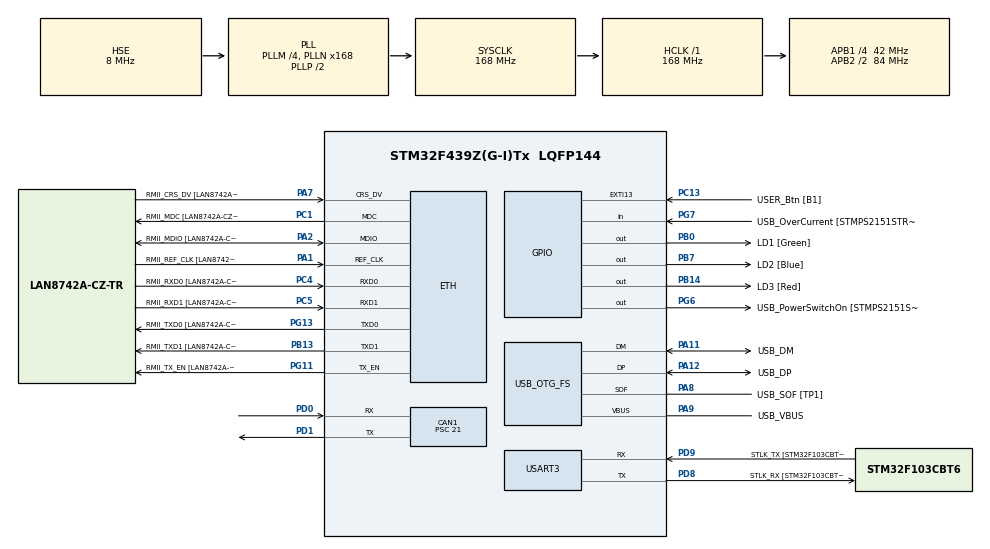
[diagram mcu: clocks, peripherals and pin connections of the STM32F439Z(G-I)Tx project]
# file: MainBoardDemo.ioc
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CAN1.BS1=CAN_BS1_2TQ
CAN1.CalculateBaudRate=500000
CAN1.CalculateTimeBit=2000
CAN1.CalculateTimeQuantum=500.0
CAN1.Mode=CAN_MODE_NORMAL
CAN1.Prescaler=21
ETH.MediaInterface=HAL_ETH_RMII_MODE
Mcu.Family=STM32F4
Mcu.Name=STM32F439Z(G-I)Tx
Mcu.Package=LQFP144
NVIC.CAN1_RX0_IRQn=true\:0\:0\:false\:false\:true\:true\:true\:true
NVIC.CAN1_RX1_IRQn=true\:0\:0\:false\:false\:true\:true\:true\:true
NVIC.EXTI15_10_IRQn=true\:0\:0\:false\:false\:true\:true\:true\:true
NVIC.PriorityGroup=NVIC_PRIORITYGROUP_4
PA1.GPIO_Label=RMII_REF_CLK [LAN8742A-CZ-TR_REFCLK0]
PA1.Mode=RMII
PA1.Signal=ETH_REF_CLK
PA10.GPIO_Label=USB_ID
PA10.Signal=USB_OTG_FS_ID
PA11.GPIO_Label=USB_DM
PA11.Mode=Device_Only
PA11.Signal=USB_OTG_FS_DM
PA12.GPIO_Label=USB_DP
PA12.Mode=Device_Only
PA12.Signal=USB_OTG_FS_DP
PA13.GPIO_Label=TMS
PA13.Mode=Serial_Wire
PA13.Signal=SYS_JTMS-SWDIO
PA14.GPIO_Label=TCK
PA14.Mode=Serial_Wire
PA14.Signal=SYS_JTCK-SWCLK
PA2.GPIO_Label=RMII_MDIO [LAN8742A-CZ-TR_MDIO]
PA2.Mode=RMII
PA2.Signal=ETH_MDIO
PA7.GPIO_Label=RMII_CRS_DV [LAN8742A-CZ-TR_CRS_DV]
PA7.Mode=RMII
PA7.Signal=ETH_CRS_DV
PA8.GPIO_Label=USB_SOF [TP1]
PA8.Mode=Activate_SOF_FS
PA8.Signal=USB_OTG_FS_SOF
PA9.GPIO_Label=USB_VBUS
PA9.Mode=Activate_VBUS
PA9.Signal=USB_OTG_FS_VBUS
PB0.GPIO_Label=LD1 [Green]
PB0.Signal=GPIO_Output
PB13.GPIO_Label=RMII_TXD1 [LAN8742A-CZ-TR_TXD1]
PB13.Mode=RMII
PB13.Signal=ETH_TXD1
PB14.GPIO_Label=LD3 [Red]
PB14.Signal=GPIO_Output
PB7.GPIO_Label=LD2 [Blue]
PB7.Signal=GPIO_Output
PC1.GPIO_Label=RMII_MDC [LAN8742A-CZ-TR_MDC]
PC1.Mode=RMII
PC1.Signal=ETH_MDC
PC13.GPIO_Label=USER_Btn [B1]
PC13.Signal=GPXTI13
PC14/OSC32_IN.Mode=LSE-External-Oscillator
PC14/OSC32_IN.Signal=RCC_OSC32_IN
PC15/OSC32_OUT.Mode=LSE-External-Oscillator
PC15/OSC32_OUT.Signal=RCC_OSC32_OUT
PC4.GPIO_Label=RMII_RXD0 [LAN8742A-CZ-TR_RXD0]
PC4.Mode=RMII
PC4.Signal=ETH_RXD0
PC5.GPIO_Label=RMII_RXD1 [LAN8742A-CZ-TR_RXD1]
PC5.Mode=RMII
PC5.Signal=ETH_RXD1
PD0.GPIO_PuPd=GPIO_NOPULL
PD0.Mode=CAN_Activate
PD0.Signal=CAN1_RX
PD1.Mode=CAN_Activate
PD1.Signal=CAN1_TX
PD6.Signal=USART2_RX
PD8.GPIO_Label=STLK_RX [STM32F103CBT6_PA3]
PD8.Mode=Asynchronous
PD8.Signal=USART3_TX
PD9.GPIO_Label=STLK_TX [STM32F103CBT6_PA2]
PD9.Mode=Asynchronous
PD9.Signal=USART3_RX
PG11.GPIO_Label=RMII_TX_EN [LAN8742A-CZ-TR_TXEN]
PG11.Mode=RMII
PG11.Signal=ETH_TX_EN
PG13.GPIO_Label=RMII_TXD0 [LAN8742A-CZ-TR_TXD0]
PG13.Mode=RMII
PG13.Signal=ETH_TXD0
PG6.GPIO_Label=USB_PowerSwitchOn [STMPS2151STR_EN]
PG6.Signal=GPIO_Output
PG7.GPIO_Label=USB_OverCurrent [STMPS2151STR_FAULT]
PG7.Signal=GPIO_Input
PH0/OSC_IN.GPIO_Label=MCO [STM32F103CBT6_PA8]
PH0/OSC_IN.Mode=HSE-External-Clock-Source
PH0/OSC_IN.Signal=RCC_OSC_IN
PH1/OSC_OUT.Mode=HSE-External-Clock-Source
PH1/OSC_OUT.Signal=RCC_OSC_OUT
ProjectManager.HeapSize=0x200
ProjectManager.StackSize=0x400
ProjectManager.TargetToolchain=STM32CubeIDE
RCC.48MHZClocksFreq_Value=48000000
RCC.AHBFreq_Value=168000000
RCC.APB1CLKDivider=RCC_HCLK_DIV4
RCC.APB1Freq_Value=42000000
RCC.APB1TimFreq_Value=84000000
RCC.APB2CLKDivider=RCC_HCLK_DIV2
RCC.APB2Freq_Value=84000000
RCC.APB2TimCLKDivider=2
RCC.APB2TimFreq_Value=168000000
RCC.CortexFreq_Value=168000000
RCC.HCLKFreq_Value=168000000
RCC.HSE_VALUE=8000000
RCC.HSI_VALUE=16000000
RCC.PLLM=4
RCC.PLLMUL=RCC_PLL_MUL9
RCC.PLLN=168
RCC.PLLQ=7
RCC.PRESCALERUSB=RCC_USBCLKSOURCE_PLL_DIV1_5
RCC.SYSCLKFreq_VALUE=168000000
RCC.SYSCLKSource=RCC_SYSCLKSOURCE_PLLCLK
RCC.SYSCLKSourceVirtual=RCC_SYSCLKSOURCE_PLLCLK
RCC.USBFreq_Value=48000000
RCC.VCOOutputFreq_Value=336000000
USART3.VirtualMode=VM_ASYNC
USB_OTG_FS.VirtualMode=Device_Only
board=NUCLEO-F439ZI

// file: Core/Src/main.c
/* USER CODE BEGIN Header */
/**
  ******************************************************************************
  * @file           : main.c
  * @brief          : Main program body
  ******************************************************************************
  * @attention
  *
  * Copyright (c) 2025 STMicroelectronics.
  * All rights reserved.
  *
  * This software is licensed under terms that can be found in the LICENSE file
  * in the root directory of this software component.
  * If no LICENSE file comes with this software, it is provided AS-IS.
  *
  ******************************************************************************
  */
/* USER CODE END Header */
#include "main.h"
#include "string.h"

/* USER CODE BEGIN PM */

//used to encode and decode sensor data from one 16bit --> two 8-bit
static inline void split_uint16(uint16_t v, uint8_t *hi, uint8_t *lo) {
    *hi = (uint8_t)(v >> 8);
    *lo = (uint8_t)(v & 0xFF);
}

static inline uint16_t combine_uint8(uint8_t hi, uint8_t lo) {
    return ((uint16_t)hi << 8) | (uint16_t)lo;
}
/* USER CODE END PM */

ETH_TxPacketConfig TxConfig;
ETH_DMADescTypeDef  DMARxDscrTab[ETH_RX_DESC_CNT]; /* Ethernet Rx DMA Descriptors */
ETH_DMADescTypeDef  DMATxDscrTab[ETH_TX_DESC_CNT]; /* Ethernet Tx DMA Descriptors */

CAN_HandleTypeDef hcan1;

ETH_HandleTypeDef heth;

UART_HandleTypeDef huart3;

PCD_HandleTypeDef hpcd_USB_OTG_FS;

/* USER CODE BEGIN PV */

//identifier ID for each board (every board should have the exact same values)
//must be between 0-255
static uint32_t MAIN = 100;
static uint32_t TEST = 101;
static uint32_t UI = 102;
/* USER CODE END PV */

void SystemClock_Config(void);
static void MX_GPIO_Init(void);
static void MX_CAN1_Init(void);
static void MX_ETH_Init(void);
static void MX_USART3_UART_Init(void);
static void MX_USB_OTG_FS_PCD_Init(void);

/* USER CODE BEGIN 0 */

CAN_TxHeaderTypeDef TxHeader;
CAN_RxHeaderTypeDef RxHeader;

uint8_t TxData[8];
uint8_t RxData[8];

//data is formatted as followed (three 16-bit values)
/*
 *  [0] data 1 MSB
 *  [1] data 1 LSB
 *  [2] data 2 MSB
 *  [3] data 2 LSB
 *  [4] data 3 MSB
 *  [5] data 3 LSB
 *  [6]
 *  [7] Identifier (such as 0x100 for MAIN)
 *
 *  not every packet will have all data filled, but identifier should always be allocated
 *  16 bit data has big-endian formatting
 */

uint32_t TxMailbox[3];

uint16_t sensorVal = 10306;
uint16_t recovered = 0;

void HAL_CAN_RxFifo0MsgPendingCallback(CAN_HandleTypeDef *hcan)
{
	HAL_CAN_GetRxMessage(hcan, CAN_RX_FIFO0, &RxHeader, RxData);

	uint8_t TxID = RxData[7];

	if (TxID == TEST)
	{
		HAL_GPIO_TogglePin(GPIOB, LD1_Pin);
		recovered = combine_uint8(RxData[0], RxData[1]);
	}
	else if (TxID == UI)
	{
		HAL_GPIO_WritePin(GPIOB, LD2_Pin, RxData[0]);
		HAL_GPIO_WritePin(GPIOB, LD3_Pin, RxData[2]);
	}
}

void HAL_GPIO_EXTI_Callback(uint16_t GPIO_Pin)
{
	int but = HAL_GPIO_ReadPin(USER_Btn_GPIO_Port,USER_Btn_Pin);
	if (but == 1)
	{
	    TxData[7] = MAIN; //set identifier byte
	    split_uint16(sensorVal, &TxData[0], &TxData[1]);

		TxHeader.StdId = TEST;  // ID for Test board
		HAL_CAN_AddTxMessage(&hcan1, &TxHeader, TxData, &TxMailbox[0]);

		TxHeader.StdId = UI;  // ID for UI board
		HAL_CAN_AddTxMessage(&hcan1, &TxHeader, TxData, &TxMailbox[1]);
		but = 0;
	}
}

/* USER CODE END 0 */

int main(void)
{

  /* MCU Configuration--------------------------------------------------------*/

  /* Reset of all peripherals, Initializes the Flash interface and the Systick. */
  HAL_Init();

  /* Configure the system clock */
  SystemClock_Config();

  /* Initialize all configured peripherals */
  MX_GPIO_Init();
  MX_CAN1_Init();
  MX_ETH_Init();
  MX_USART3_UART_Init();
  MX_USB_OTG_FS_PCD_Init();
  /* USER CODE BEGIN 2 */
  HAL_GPIO_WritePin(GPIOB, LD3_Pin, GPIO_PIN_RESET);

  HAL_CAN_Start(&hcan1);

      // Activate the notification
  HAL_CAN_ActivateNotification(&hcan1, CAN_IT_RX_FIFO0_MSG_PENDING);

  //set header values (all these are the same except for ID)
  TxHeader.DLC = 8;  // data length
  TxHeader.ExtId = 0;
  TxHeader.IDE = CAN_ID_STD;
  TxHeader.RTR = CAN_RTR_DATA;
  TxHeader.TransmitGlobalTime = DISABLE;
      //HAL_CAN_AddTxMessage(&hcan1, &TxHeader, TxData, &TxMailbox);

  /* USER CODE END 2 */

  /* Infinite loop */
  while(1)
  {
  }

}

void SystemClock_Config(void)
{
  RCC_OscInitTypeDef RCC_OscInitStruct = {0};
  RCC_ClkInitTypeDef RCC_ClkInitStruct = {0};

  /** Configure the main internal regulator output voltage
  */
  __HAL_RCC_PWR_CLK_ENABLE();
  __HAL_PWR_VOLTAGESCALING_CONFIG(PWR_REGULATOR_VOLTAGE_SCALE1);

  /** Initializes the RCC Oscillators according to the specified parameters
  * in the RCC_OscInitTypeDef structure.
  */
  RCC_OscInitStruct.OscillatorType = RCC_OSCILLATORTYPE_HSE;
  RCC_OscInitStruct.HSEState = RCC_HSE_BYPASS;
  RCC_OscInitStruct.PLL.PLLState = RCC_PLL_ON;
  RCC_OscInitStruct.PLL.PLLSource = RCC_PLLSOURCE_HSE;
  RCC_OscInitStruct.PLL.PLLM = 4;
  RCC_OscInitStruct.PLL.PLLN = 168;
  RCC_OscInitStruct.PLL.PLLP = RCC_PLLP_DIV2;
  RCC_OscInitStruct.PLL.PLLQ = 7;
  if (HAL_RCC_OscConfig(&RCC_OscInitStruct) != HAL_OK)
  {
    Error_Handler();
  }

  /** Initializes the CPU, AHB and APB buses clocks
  */
  RCC_ClkInitStruct.ClockType = RCC_CLOCKTYPE_HCLK|RCC_CLOCKTYPE_SYSCLK
                              |RCC_CLOCKTYPE_PCLK1|RCC_CLOCKTYPE_PCLK2;
  RCC_ClkInitStruct.SYSCLKSource = RCC_SYSCLKSOURCE_PLLCLK;
  RCC_ClkInitStruct.AHBCLKDivider = RCC_SYSCLK_DIV1;
  RCC_ClkInitStruct.APB1CLKDivider = RCC_HCLK_DIV4;
  RCC_ClkInitStruct.APB2CLKDivider = RCC_HCLK_DIV2;

  if (HAL_RCC_ClockConfig(&RCC_ClkInitStruct, FLASH_LATENCY_5) != HAL_OK)
  {
    Error_Handler();
  }
}

static void MX_CAN1_Init(void)
{

  hcan1.Instance = CAN1;
  hcan1.Init.Prescaler = 21;
  hcan1.Init.Mode = CAN_MODE_NORMAL;
  hcan1.Init.SyncJumpWidth = CAN_SJW_1TQ;
  hcan1.Init.TimeSeg1 = CAN_BS1_2TQ;
  hcan1.Init.TimeSeg2 = CAN_BS2_1TQ;
  hcan1.Init.TimeTriggeredMode = DISABLE;
  hcan1.Init.AutoBusOff = DISABLE;
  hcan1.Init.AutoWakeUp = DISABLE;
  hcan1.Init.AutoRetransmission = DISABLE;
  hcan1.Init.ReceiveFifoLocked = DISABLE;
  hcan1.Init.TransmitFifoPriority = DISABLE;
  if (HAL_CAN_Init(&hcan1) != HAL_OK)
  {
    Error_Handler();
  }
  /* USER CODE BEGIN CAN1_Init 2 */
  CAN_FilterTypeDef canfilterconfig;

       canfilterconfig.FilterActivation = CAN_FILTER_ENABLE;
       canfilterconfig.FilterBank = 10;  // which filter bank to use from the assigned ones
       canfilterconfig.FilterFIFOAssignment = CAN_RX_FIFO0;
       canfilterconfig.FilterIdHigh = MAIN<<5;
       canfilterconfig.FilterIdLow = 0x0000;
       canfilterconfig.FilterMaskIdHigh = MAIN<<5;
       canfilterconfig.FilterMaskIdLow = 0x0000;
       canfilterconfig.FilterMode = CAN_FILTERMODE_IDMASK;
       canfilterconfig.FilterScale = CAN_FILTERSCALE_32BIT;
       canfilterconfig.SlaveStartFilterBank = 13;  // 13 - 27 are Slave (CAN2) or 0 - 12 are Master (CAN1)
       	 	 	 	 	 	 	 	 	 	 	// useless if only 1 CAN1 (which this board has)

       HAL_CAN_ConfigFilter(&hcan1, &canfilterconfig);
  /* USER CODE END CAN1_Init 2 */

}

static void MX_ETH_Init(void)
{

   static uint8_t MACAddr[6];

  heth.Instance = ETH;
  MACAddr[0] = 0x00;
  MACAddr[1] = 0x80;
  MACAddr[2] = 0xE1;
  MACAddr[3] = 0x00;
  MACAddr[4] = 0x00;
  MACAddr[5] = 0x00;
  heth.Init.MACAddr = &MACAddr[0];
  heth.Init.MediaInterface = HAL_ETH_RMII_MODE;
  heth.Init.TxDesc = DMATxDscrTab;
  heth.Init.RxDesc = DMARxDscrTab;
  heth.Init.RxBuffLen = 1524;

  if (HAL_ETH_Init(&heth) != HAL_OK)
  {
    Error_Handler();
  }

  memset(&TxConfig, 0 , sizeof(ETH_TxPacketConfig));
  TxConfig.Attributes = ETH_TX_PACKETS_FEATURES_CSUM | ETH_TX_PACKETS_FEATURES_CRCPAD;
  TxConfig.ChecksumCtrl = ETH_CHECKSUM_IPHDR_PAYLOAD_INSERT_PHDR_CALC;
  TxConfig.CRCPadCtrl = ETH_CRC_PAD_INSERT;

}

static void MX_USART3_UART_Init(void)
{

  huart3.Instance = USART3;
  huart3.Init.BaudRate = 115200;
  huart3.Init.WordLength = UART_WORDLENGTH_8B;
  huart3.Init.StopBits = UART_STOPBITS_1;
  huart3.Init.Parity = UART_PARITY_NONE;
  huart3.Init.Mode = UART_MODE_TX_RX;
  huart3.Init.HwFlowCtl = UART_HWCONTROL_NONE;
  huart3.Init.OverSampling = UART_OVERSAMPLING_16;
  if (HAL_UART_Init(&huart3) != HAL_OK)
  {
    Error_Handler();
  }

}

static void MX_USB_OTG_FS_PCD_Init(void)
{

  hpcd_USB_OTG_FS.Instance = USB_OTG_FS;
  hpcd_USB_OTG_FS.Init.dev_endpoints = 4;
  hpcd_USB_OTG_FS.Init.speed = PCD_SPEED_FULL;
  hpcd_USB_OTG_FS.Init.dma_enable = DISABLE;
  hpcd_USB_OTG_FS.Init.phy_itface = PCD_PHY_EMBEDDED;
  hpcd_USB_OTG_FS.Init.Sof_enable = ENABLE;
  hpcd_USB_OTG_FS.Init.low_power_enable = DISABLE;
  hpcd_USB_OTG_FS.Init.lpm_enable = DISABLE;
  hpcd_USB_OTG_FS.Init.vbus_sensing_enable = ENABLE;
  hpcd_USB_OTG_FS.Init.use_dedicated_ep1 = DISABLE;
  if (HAL_PCD_Init(&hpcd_USB_OTG_FS) != HAL_OK)
  {
    Error_Handler();
  }

}

static void MX_GPIO_Init(void)
{
  GPIO_InitTypeDef GPIO_InitStruct = {0};

  /* GPIO Ports Clock Enable */
  __HAL_RCC_GPIOC_CLK_ENABLE();
  __HAL_RCC_GPIOH_CLK_ENABLE();
  __HAL_RCC_GPIOA_CLK_ENABLE();
  __HAL_RCC_GPIOB_CLK_ENABLE();
  __HAL_RCC_GPIOD_CLK_ENABLE();
  __HAL_RCC_GPIOG_CLK_ENABLE();

  /*Configure GPIO pin Output Level */
  HAL_GPIO_WritePin(GPIOB, LD1_Pin|LD3_Pin|LD2_Pin, GPIO_PIN_RESET);

  /*Configure GPIO pin Output Level */
  HAL_GPIO_WritePin(USB_PowerSwitchOn_GPIO_Port, USB_PowerSwitchOn_Pin, GPIO_PIN_RESET);

  /*Configure GPIO pin : USER_Btn_Pin */
  GPIO_InitStruct.Pin = USER_Btn_Pin;
  GPIO_InitStruct.Mode = GPIO_MODE_IT_RISING;
  GPIO_InitStruct.Pull = GPIO_NOPULL;
  HAL_GPIO_Init(USER_Btn_GPIO_Port, &GPIO_InitStruct);

  /*Configure GPIO pins : LD1_Pin LD3_Pin LD2_Pin */
  GPIO_InitStruct.Pin = LD1_Pin|LD3_Pin|LD2_Pin;
  GPIO_InitStruct.Mode = GPIO_MODE_OUTPUT_PP;
  GPIO_InitStruct.Pull = GPIO_NOPULL;
  GPIO_InitStruct.Speed = GPIO_SPEED_FREQ_LOW;
  HAL_GPIO_Init(GPIOB, &GPIO_InitStruct);

  /*Configure GPIO pin : USB_PowerSwitchOn_Pin */
  GPIO_InitStruct.Pin = USB_PowerSwitchOn_Pin;
  GPIO_InitStruct.Mode = GPIO_MODE_OUTPUT_PP;
  GPIO_InitStruct.Pull = GPIO_NOPULL;
  GPIO_InitStruct.Speed = GPIO_SPEED_FREQ_LOW;
  HAL_GPIO_Init(USB_PowerSwitchOn_GPIO_Port, &GPIO_InitStruct);

  /*Configure GPIO pin : USB_OverCurrent_Pin */
  GPIO_InitStruct.Pin = USB_OverCurrent_Pin;
  GPIO_InitStruct.Mode = GPIO_MODE_INPUT;
  GPIO_InitStruct.Pull = GPIO_NOPULL;
  HAL_GPIO_Init(USB_OverCurrent_GPIO_Port, &GPIO_InitStruct);

  /*Configure GPIO pin : PD6 */
  GPIO_InitStruct.Pin = GPIO_PIN_6;
  GPIO_InitStruct.Mode = GPIO_MODE_AF_PP;
  GPIO_InitStruct.Pull = GPIO_NOPULL;
  GPIO_InitStruct.Speed = GPIO_SPEED_FREQ_VERY_HIGH;
  GPIO_InitStruct.Alternate = GPIO_AF7_USART2;
  HAL_GPIO_Init(GPIOD, &GPIO_InitStruct);

  /* EXTI interrupt init*/
  HAL_NVIC_SetPriority(EXTI15_10_IRQn, 0, 0);
  HAL_NVIC_EnableIRQ(EXTI15_10_IRQn);

}

void Error_Handler(void)
{
  __disable_irq();
  while (1)
  {
  }
}
